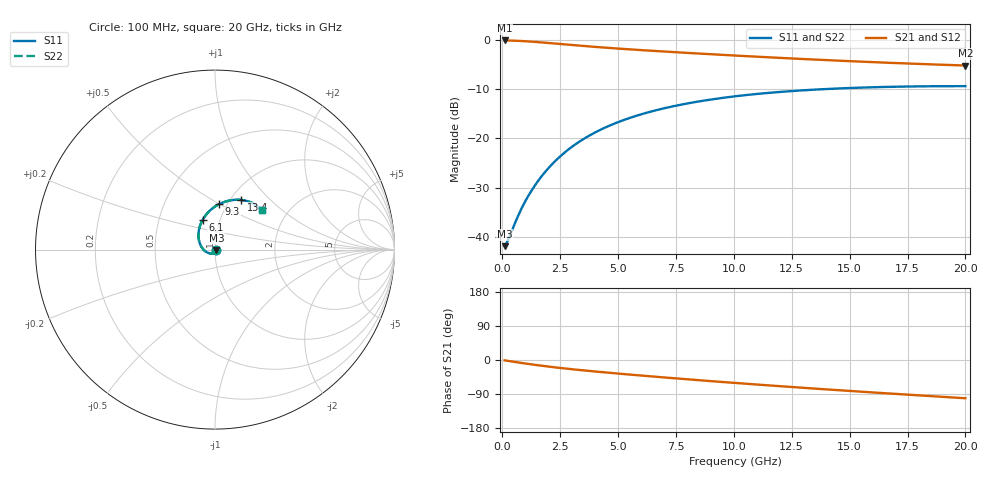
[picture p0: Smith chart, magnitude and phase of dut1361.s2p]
! Touchstone file exported from HFSS 2024.1.0
!  File:  C:/UserFiles/LocalFiles/RDL_TSV_Batchsim/temp_RDL_TSV_1361_1780396397.aedt
!  Generated:  06:50:34 PM Jun  2, 2026
!  Design:  RDL_TSV
!  Project:  temp_RDL_TSV_1361_1780396397
!  Setup:  Setup1
!  Solution:  Sweep
! Variables:
!  dtsv = 7.38um
!  hbump = 3um
!  htsv = 92.89um
!  ldown = 119.32um
!  lrdl = 134.94um
!  p = 40
!  p1 = 43.79um
!  rhole = 10um
!  subl = 897.72um
!  t = 450um
!  tdown = 4.58um
!  trdl = 3.26um
!  viad = 10um
!  wdown = 27.46um
!  wrdl = 11.29um
!  xbump = 18um
# GHz S MA R 50.000000
! Terminal data exported
! Port[1] = TM1_1_T1
! Port[2] = TM1_4_T1
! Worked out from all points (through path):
!   200 points, 100 MHz to 20 GHz, reference 50 ohm
!   highest |S21| = -0.07 dB at 100 MHz (marker M1); lowest = -5.2 dB at 20 GHz (marker M2)
!   group delay of S21, straight-line fit = 13.2 ps
!   lowest |S11| = -41.9 dB at 100 MHz (marker M3), VSWR 1.02, Z = 50.8 - j0.255 ohm
!   |S11| at or under -10 dB: start of sweep to 13.76 GHz
!   |S22| runs from -41.9 to -9.4 dB; largest |S21 - S12| = 9.6e-15
!   S11 on the Smith chart (normalised r, x): 100 MHz: 1.02, -0.01; 6.1 GHz: 0.83, +0.28; 9.3 GHz: 0.92, +0.50; 13.4 GHz: 1.12, +0.69; 20 GHz: 1.48, +0.74
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0.1  0.008029 -18.2  0.992 -1.0  0.992 -1.0  0.008029 -18.2
! Gamma 0 0 0 0
! Port Impedance 50 0 50 0
0.2  0.008772 -35.3  0.9912 -1.9  0.9912 -1.9  0.008772 -35.3
0.6  0.01474 -85.0  0.985 -5.7  0.985 -5.7  0.01474 -85.0
0.9  0.02088 -109.2  0.9772 -8.4  0.9772 -8.4  0.02088 -109.2
1.2  0.02794 -128.0  0.9673 -11.1  0.9673 -11.1  0.02794 -128.0
1.6  0.0385 -148.2  0.9518 -14.4  0.9518 -14.4  0.0385 -148.2
2  0.05013 -164.6  0.9347 -17.4  0.9347 -17.4  0.05013 -164.6
2.5  0.06571 178.6  0.913 -21.0  0.913 -21.0  0.06572 178.6
3  0.08195 164.7  0.8918 -24.3  0.8918 -24.3  0.08197 164.7
3.5  0.09843 153.0  0.8719 -27.4  0.8719 -27.4  0.09844 153.0
4.1  0.1181 141.3  0.8499 -30.9  0.8499 -30.9  0.1181 141.3
4.7  0.1372 131.3  0.8297 -34.2  0.8297 -34.2  0.1372 131.3
5.4  0.1586 121.4  0.8083 -37.9  0.8083 -37.9  0.1586 121.4
6.1  0.1789 112.9  0.7885 -41.6  0.7885 -41.6  0.1789 112.9
6.8  0.1978 105.4  0.7701 -45.1  0.7701 -45.1  0.1979 105.4
8  0.2272 94.5  0.741 -51.0  0.741 -51.0  0.2272 94.6
9.3  0.2545 84.8  0.7121 -57.1  0.7121 -57.1  0.2545 84.8
10.1  0.2691 79.5  0.6955 -60.8  0.6955 -60.8  0.2691 79.5
11.7  0.2934 70.3  0.6648 -67.9  0.6648 -67.9  0.2935 70.3
13.4  0.3129 62.2  0.6354 -75.1  0.6354 -75.1  0.3129 62.2
16.7  0.3348 49.6  0.5879 -88.4  0.5879 -88.4  0.3349 49.6
20  0.3402 40.4  0.5518 -100.9  0.5518 -100.9  0.3404 40.4
